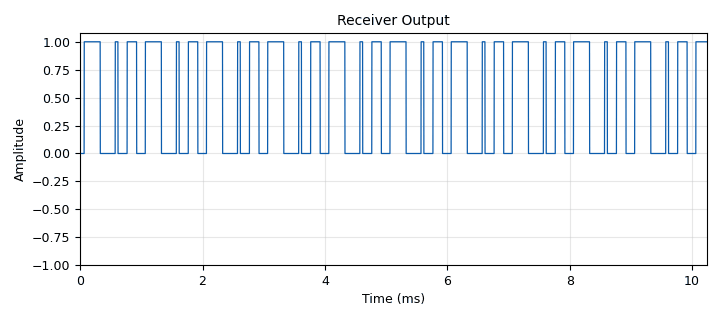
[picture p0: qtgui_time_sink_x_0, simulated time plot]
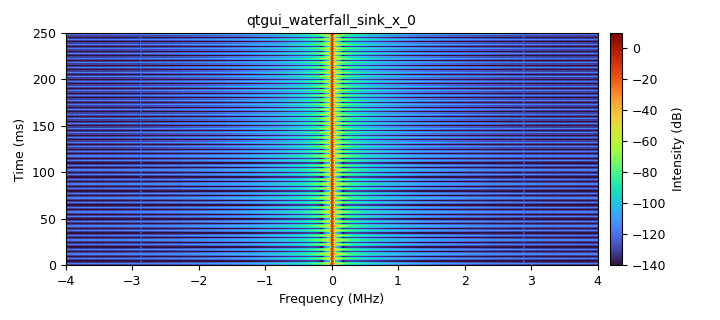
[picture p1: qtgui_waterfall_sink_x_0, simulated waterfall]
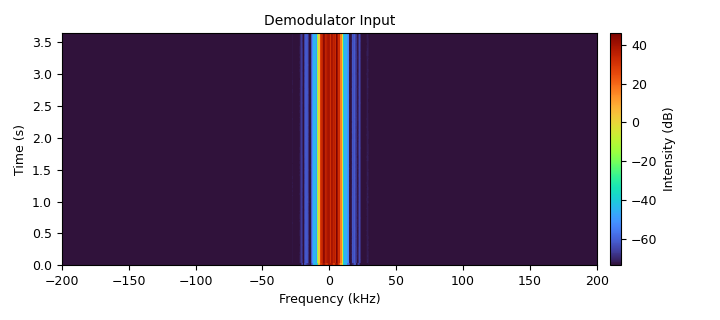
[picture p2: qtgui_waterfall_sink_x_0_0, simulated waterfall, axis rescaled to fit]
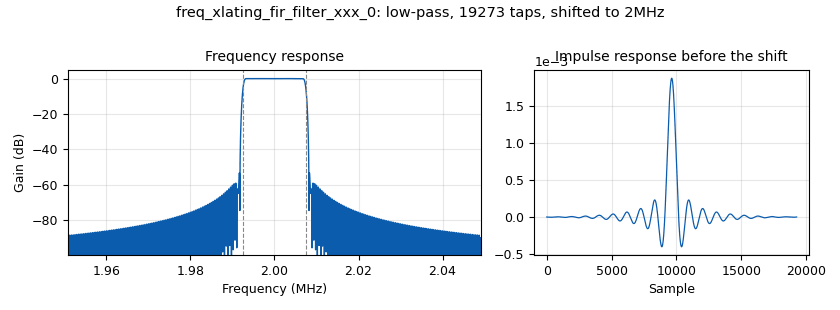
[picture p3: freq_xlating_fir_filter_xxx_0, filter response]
options:
  parameters:
    author: jjtwd
    generate_options: qt_gui
    id: lab_3
    output_language: python
    title: Lab 3
  states: {}

blocks:
- name: center_freq
  id: variable
  parameters:
    value: 313e6
  states: {}
- name: filter_cutoff
  id: variable
  parameters:
    value: 7.5e3
  states: {}
- name: filter_transition
  id: variable
  parameters:
    value: 1e3
  states: {}
- name: freq
  id: variable_qtgui_entry
  parameters:
    type: int
    value: '315000000'
  states: {}
- name: fsk_deviation_hz
  id: variable_qtgui_range
  parameters:
    start: 1e3
    step: 5e3
    stop: 200e3
    value: 10e3
  states: {}
- name: gain
  id: variable
  parameters:
    value: 1e3
  states: {}
- name: samp_rate
  id: variable
  parameters:
    value: '8000000'
  states: {}
- name: threshold
  id: variable_qtgui_entry
  parameters:
    type: real
    value: '0.5'
  states: {}
- name: working_samp_rate
  id: variable
  parameters:
    value: 400e3
  states: {}
- name: analog_frequency_modulator_fc_0
  id: analog_frequency_modulator_fc
  parameters:
    sensitivity: (2*math.pi*(fsk_deviation_hz/2))/samp_rate
  states: {}
- name: analog_quadrature_demod_cf_0
  id: analog_quadrature_demod_cf
  parameters:
    gain: working_samp_rate/(2*math.pi*fsk_deviation_hz/2)
  states: {}
- name: analog_sig_source_x_0
  id: analog_sig_source_x
  parameters:
    amp: '1000'
    freq: '2000000'
    offset: '0'
    phase: '0'
    samp_rate: samp_rate
    type: complex
    waveform: analog.GR_COS_WAVE
  states: {}
- name: blocks_add_const_vxx_0
  id: blocks_add_const_vxx
  parameters:
    const: '-1*threshold'
    type: float
  states: {}
- name: blocks_multiply_xx_0
  id: blocks_multiply_xx
  parameters:
    type: complex
  states: {}
- name: blocks_repeat_0
  id: blocks_repeat
  parameters:
    interp: '800'
    type: float
  states: {}
- name: blocks_throttle2_0
  id: blocks_throttle2
  parameters:
    samples_per_second: samp_rate
    type: complex
  states: {}
- name: blocks_uchar_to_float_0
  id: blocks_uchar_to_float
  parameters: {}
  states: {}
- name: blocks_vector_source_x_0
  id: blocks_vector_source_x
  parameters:
    repeat: 'True'
    type: float
    vector: (-1, 1, -1, 1, 1, -1, 1, 1, 1, -1)
  states: {}
- name: digital_binary_slicer_fb_0
  id: digital_binary_slicer_fb
  parameters: {}
  states: {}
- name: freq_xlating_fir_filter_xxx_0
  id: freq_xlating_fir_filter_xxx
  parameters:
    center_freq: freq-center_freq
    decim: int(samp_rate/working_samp_rate)
    samp_rate: samp_rate
    taps: firdes.low_pass(1, samp_rate, filter_cutoff, filter_transition)
    type: ccc
  states: {}
- name: import_0
  id: import
  parameters:
    imports: import math
  states: {}
- name: qtgui_time_sink_x_0
  id: qtgui_time_sink_x
  parameters:
    name: '"Receiver Output"'
    size: '4096'
    srate: working_samp_rate
    type: float
  states: {}
- name: qtgui_waterfall_sink_x_0
  id: qtgui_waterfall_sink_x
  parameters:
    bw: samp_rate
    fc: '0'
    fftsize: '1024'
    showports: 'True'
    type: complex
  states: {}
- name: qtgui_waterfall_sink_x_0_0
  id: qtgui_waterfall_sink_x
  parameters:
    bw: working_samp_rate
    fc: '0'
    fftsize: '1024'
    name: '"Demodulator Input"'
    showports: 'True'
    type: complex
  states: {}
- name: virtual_sink_0
  id: virtual_sink
  parameters:
    stream_id: signal
  states: {}
- name: virtual_source_0
  id: virtual_source
  parameters:
    stream_id: signal
  states: {}

connections:
- [analog_frequency_modulator_fc_0, '0', blocks_multiply_xx_0, '0']
- [analog_frequency_modulator_fc_0, '0', qtgui_waterfall_sink_x_0, '0']
- [analog_quadrature_demod_cf_0, '0', virtual_sink_0, '0']
- [analog_sig_source_x_0, '0', blocks_throttle2_0, '0']
- [blocks_add_const_vxx_0, '0', digital_binary_slicer_fb_0, '0']
- [blocks_multiply_xx_0, '0', freq_xlating_fir_filter_xxx_0, '0']
- [blocks_repeat_0, '0', analog_frequency_modulator_fc_0, '0']
- [blocks_throttle2_0, '0', blocks_multiply_xx_0, '1']
- [blocks_uchar_to_float_0, '0', qtgui_time_sink_x_0, '0']
- [blocks_vector_source_x_0, '0', blocks_repeat_0, '0']
- [digital_binary_slicer_fb_0, '0', blocks_uchar_to_float_0, '0']
- [freq_xlating_fir_filter_xxx_0, '0', analog_quadrature_demod_cf_0, '0']
- [freq_xlating_fir_filter_xxx_0, '0', qtgui_waterfall_sink_x_0_0, '0']
- [virtual_source_0, '0', blocks_add_const_vxx_0, '0']

metadata:
  file_format: 1
  grc_version: 3.10.7.0
